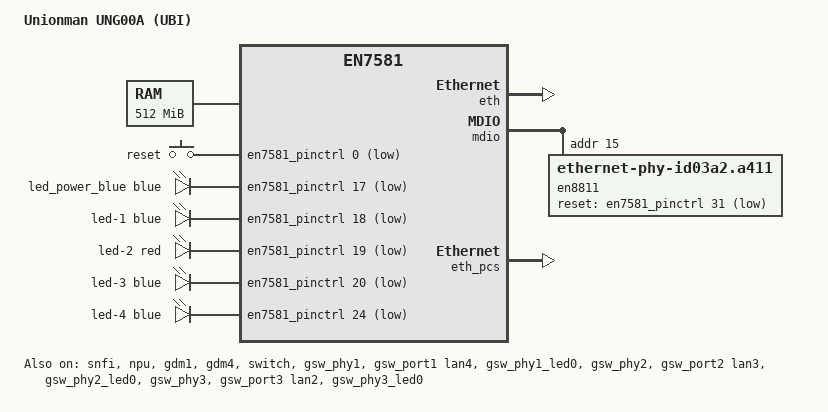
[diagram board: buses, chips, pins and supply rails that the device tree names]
// SPDX-License-Identifier: (GPL-2.0-only OR BSD-2-Clause)
/dts-v1/;

#include <dt-bindings/gpio/gpio.h>
#include <dt-bindings/input/input.h>
#include <dt-bindings/leds/common.h>
#include "an7581.dtsi"

/ {
	model = "Unionman UNG00A (UBI)";
	compatible = "unionman,ung00a-ubi", "airoha,an7581",
		     "airoha,en7581";

	aliases {
		label-mac-device = &gdm1;

		led-boot = &led_power_blue;
		led-failsafe = &led_power_blue;
		led-running = &led_power_blue;
		led-upgrade = &led_power_blue;

		serial0 = &uart1;
	};

	chosen {
		rootdisk = <&ubi_fit>;
		bootargs = "console=ttyS0,115200 earlycon";
		stdout-path = "serial0:115200n8";
	};

	memory@80000000 {
		device_type = "memory";
		reg = <0x0 0x80000000 0x0 0x20000000>;
	};

	keys {
		compatible = "gpio-keys";

		button-0 {
			label = "reset";
			linux,code = <KEY_RESTART>;
			gpios = <&en7581_pinctrl 0 GPIO_ACTIVE_LOW>;
			debounce-interval = <60>;
		};
	};

	leds {
		compatible = "gpio-leds";

		led_power_blue: led-0 {
			color = <LED_COLOR_ID_BLUE>;
			function = LED_FUNCTION_POWER;
			gpios = <&en7581_pinctrl 17 GPIO_ACTIVE_LOW>;
			default-state = "on";
			panic-indicator;
		};

		led-1 {
			color = <LED_COLOR_ID_BLUE>;
			function = LED_FUNCTION_WAN;
			gpios = <&en7581_pinctrl 18 GPIO_ACTIVE_LOW>;
		};

		led-2 {
			color = <LED_COLOR_ID_RED>;
			function = LED_FUNCTION_WAN;
			gpios = <&en7581_pinctrl 19 GPIO_ACTIVE_LOW>;
		};

		led-3 {
			color = <LED_COLOR_ID_BLUE>;
			function = LED_FUNCTION_WAN_ONLINE;
			gpios = <&en7581_pinctrl 20 GPIO_ACTIVE_LOW>;
		};

		led-4 {
			color = <LED_COLOR_ID_BLUE>;
			function = "phone";
			gpios = <&en7581_pinctrl 24 GPIO_ACTIVE_LOW>;
		};
	};
};

&en7581_pinctrl {
	gpio-ranges = <&en7581_pinctrl 0 13 50>;

	mdio_pins: mdio-pins {
		mux {
			function = "mdio";
			groups = "mdio";
		};
	};

	gswp1_led0_pins: gswp1-led0-pins {
		mux {
			function = "phy1_led0";
			pins = "gpio43";
		};
	};

	gswp2_led0_pins: gswp2-led0-pins {
		mux {
			function = "phy2_led0";
			pins = "gpio44";
		};
	};

	gswp3_led0_pins: gswp3-led0-pins {
		mux {
			function = "phy3_led0";
			pins = "gpio45";
		};
	};
};

&snfi {
	status = "okay";
};

&spi_nand {
	nand-ecc-engine = <&spi_nand>;

	partitions: partitions {
		compatible = "fixed-partitions";
		#address-cells = <1>;
		#size-cells = <1>;

		partition@0_all {
			label = "ALL";
			reg = <0x0 0x10000000>;
			read-only;
		};

		partition@0 {
			label = "bl2";
			reg = <0x0 0x20000>;
			read-only;
		};

		partition@20000 {
			label = "ubi";
			reg = <0x20000 0xffe0000>;
			compatible = "linux,ubi";

			volumes {
				ubi-vol-fip {
					volname = "fip";
				};

				ubi_fit: ubi-vol-fit {
					volname = "fit";
				};

				ubi_reservedarea: ubi-vol-reservedarea {
					volname = "reservedarea";
				};

				ubi_env: ubi-vol-ubootenv {
					volname = "ubootenv";
				};

				ubi_env2: ubi-vol-ubootenv2 {
					volname = "ubootenv2";
				};
			};
		};
	};
};

&ubi_env {
	nvmem-layout {
		compatible = "u-boot,env-redundant-bool-layout";
	};
};

&ubi_env2 {
	nvmem-layout {
		compatible = "u-boot,env-redundant-bool-layout";
	};
};

&ubi_reservedarea {
	nvmem-layout {
		compatible = "fixed-layout";
		#address-cells = <1>;
		#size-cells = <1>;

		macaddr_reservedarea_21021: mac-address@21021 {
			compatible = "mac-base";
			reg = <0x21021 0xc>;
			#nvmem-cell-cells = <1>;
		};
	};
};

&npu {
	status = "okay";
};

&eth {
	status = "okay";
};

&gdm1 {
	nvmem-cells = <&macaddr_reservedarea_21021 (0)>;
	nvmem-cell-names = "mac-address";
	status = "okay";
};

&mdio {
	en8811: ethernet-phy@f {
		compatible = "ethernet-phy-id03a2.a411";
		reg = <0xf>;

		reset-gpios = <&en7581_pinctrl 31 GPIO_ACTIVE_LOW>;
		reset-assert-us = <1000000>;
		reset-deassert-us = <100000>;

		leds {
			#address-cells = <1>;
			#size-cells = <0>;

			led-0 {
				reg = <0>;
				color = <LED_COLOR_ID_BLUE>;
				function = LED_FUNCTION_LAN;
				function-enumerator = <1>;
				default-state = "keep";
			};
		};
	};
};

&eth_pcs {
	status = "okay";
};

&gdm4 {
	openwrt,netdev-name = "lan1";
	phy-handle = <&en8811>;
	phy-mode = "2500base-x";
	nvmem-cells = <&macaddr_reservedarea_21021 (0)>;
	nvmem-cell-names = "mac-address";
	status = "okay";
};

&switch {
	pinctrl-names = "default";
	pinctrl-0 = <&mdio_pins>;
	status = "okay";
};

&gsw_phy1 {
	interrupts = <1>;
	pinctrl-names = "gbe-led";
	pinctrl-0 = <&gswp1_led0_pins>;
	status = "okay";
};

&gsw_port1 {
	label = "lan4";
	status = "okay";
};

&gsw_phy1_led0 {
	color = <LED_COLOR_ID_BLUE>;
	function = LED_FUNCTION_LAN;
	function-enumerator = <4>;
	active-low;
	status = "okay";
};

&gsw_phy2 {
	interrupts = <2>;
	pinctrl-names = "gbe-led";
	pinctrl-0 = <&gswp2_led0_pins>;
	status = "okay";
};

&gsw_port2 {
	label = "lan3";
	status = "okay";
};

&gsw_phy2_led0 {
	color = <LED_COLOR_ID_BLUE>;
	function = LED_FUNCTION_LAN;
	function-enumerator = <3>;
	active-low;
	status = "okay";
};

&gsw_phy3 {
	interrupts = <3>;
	pinctrl-names = "gbe-led";
	pinctrl-0 = <&gswp3_led0_pins>;
	status = "okay";
};

&gsw_port3 {
	label = "lan2";
	status = "okay";
};

&gsw_phy3_led0 {
	color = <LED_COLOR_ID_BLUE>;
	function = LED_FUNCTION_LAN;
	function-enumerator = <2>;
	active-low;
	status = "okay";
};
